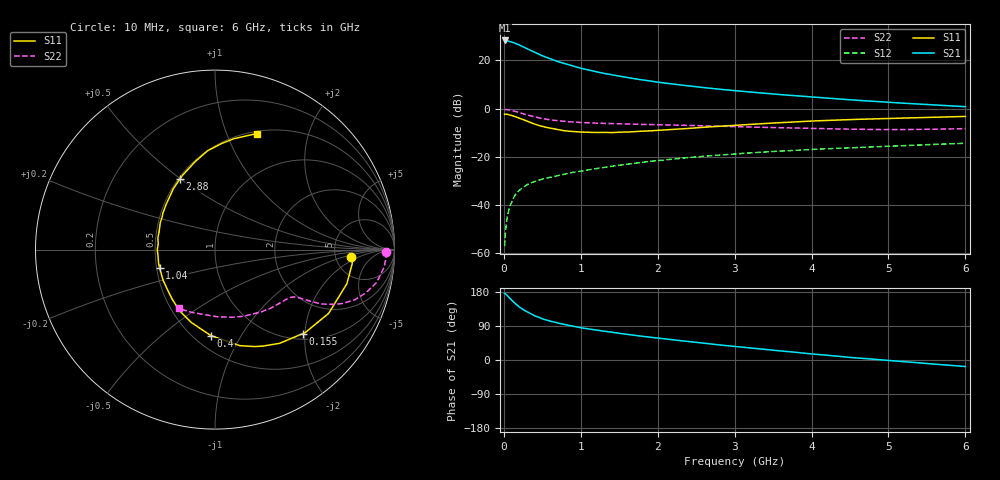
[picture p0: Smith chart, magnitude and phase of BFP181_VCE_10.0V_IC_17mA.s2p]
! Infineon Technologies  Discrete & RF Semiconductors
! BFP181
! VCE = 10.0V,  IC =  17 mA
! Common Emitter S-Parameters:  Jan 2016
# GHz  S  MA  R  50
!  f  S11  S21  S12  S22
! GHz  MAG  ANG  MAG  ANG  MAG  ANG  MAG  ANG
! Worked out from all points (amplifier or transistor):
!   210 points, 10 MHz to 6 GHz, reference 50 ohm
!   highest |S21| = 28.3 dB at 10 MHz (marker M1)
!   |S21| within 3 dB of that: start of sweep to 273.7 MHz
!   unconditionally stable (mu >= 1): 1.074 GHz to end of sweep
!   at 185 MHz: K = 0.34, MSG = 30.5 dB, |S12| = -34.4 dB
!   at 1.52 GHz: K = 1.10, MAG = 16.5 dB, |S12| = -23.4 dB
!   at 6 GHz: K = 1.02, MAG = 6.7 dB, |S12| = -14.4 dB
!   S11 on the Smith chart (normalised r, x): 10 MHz: 7.13, -1.31; 155 MHz: 1.13, -1.95; 400 MHz: 0.60, -0.75; 1.04 GHz: 0.52, -0.12; 2.88 GHz: 0.51, +0.49; 6 GHz: 0.52, +1.28
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0.01  0.7612 -2.9  25.88 176.1  0.0014 59.0  0.9553 -0.8
0.02  0.7683 -5.9  25.61 174.9  0.0025 72.0  0.955 -2.1
0.05  0.759 -14.5  25.29 168.6  0.0063 81.3  0.9478 -5.9
0.1  0.7261 -29.3  24.12 158.2  0.0113 70.3  0.919 -11.5
0.155  0.6766 -43.8  22.41 147.8  0.0168 67.4  0.8695 -16.4
0.2  0.634 -55.5  20.97 140.1  0.0201 63.6  0.827 -19.8
0.24  0.5997 -63.7  19.44 134.4  0.0225 61.0  0.7884 -21.9
0.3  0.5528 -75.5  17.52 127.2  0.0263 58.1  0.7376 -24.5
0.4  0.4793 -92.8  14.72 116.6  0.0308 55.1  0.6704 -26.9
0.5  0.427 -108.0  12.45 108.7  0.0345 53.0  0.6194 -28.1
0.6  0.3949 -119.6  10.85 102.7  0.0376 52.9  0.5841 -28.8
0.8  0.3445 -141.1  8.462 93.1  0.044 52.6  0.5407 -29.8
1.02  0.3256 -160.4  6.768 84.7  0.051 52.6  0.5128 -30.9
1.04  0.3247 -161.9  6.657 84.0  0.0516 52.6  0.511 -31.1
1.3  0.3214 -179.9  5.371 76.0  0.0597 52.3  0.493 -33.3
1.5  0.3249 168.6  4.708 70.3  0.0667 51.7  0.483 -35.1
2.02  0.3559 144.0  3.499 57.5  0.0842 49.2  0.4625 -41.6
2.88  0.4382 116.7  2.455 38.2  0.1109 42.9  0.4284 -54.9
3.1  0.4602 111.3  2.282 33.9  0.1175 41.1  0.4181 -58.7
4.1  0.5588 92.7  1.695 14.4  0.1446 32.8  0.3845 -78.5
5.1  0.6311 79.4  1.321 -2.8  0.1681 25.2  0.3669 -100.8
6  0.6874 70.2  1.095 -17.3  0.1907 18.3  0.3846 -121.5
